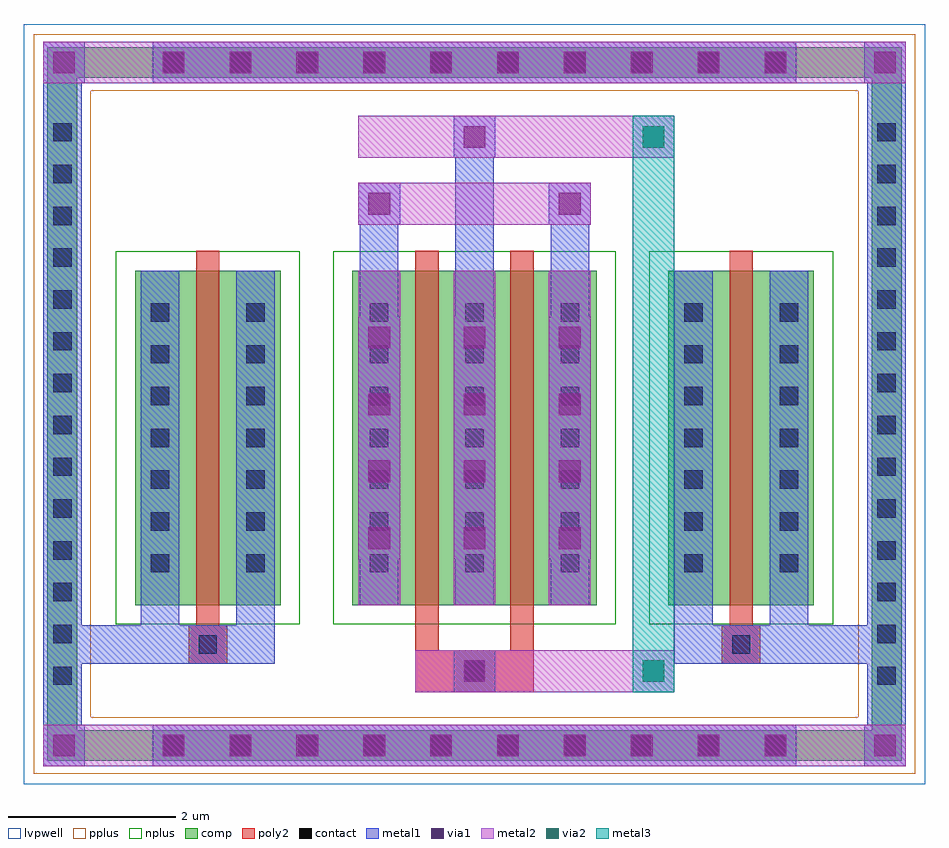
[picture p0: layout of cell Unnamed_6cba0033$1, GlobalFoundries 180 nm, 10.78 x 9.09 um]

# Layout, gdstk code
import gdstk
lib = gdstk.Library(unit=1e-6, precision=5e-09)
def R(c, l, rs):  # rectangles x0, y0, x1, y1
    for r in rs: c.add(gdstk.rectangle(r[:2], r[2:], *l))
def A(c, l, x, y, w, h, nx, ny, dx, dy):  # array of equal rectangles
    R(c, l, [(x+i*dx, y+j*dy, x+i*dx+w, y+j*dy+h) for i in range(nx) for j in range(ny)])
def P(c, l, *ps):  # polygons
    for p in ps: c.add(gdstk.Polygon(p, *l))
comp = (22, 0)
poly2 = (30, 0)
pplus = (31, 0)
nplus = (32, 0)
contact = (33, 0)
metal1 = (34, 0)
via1 = (35, 0)
metal2 = (36, 0)
via2 = (38, 0)
metal3 = (42, 0)
lvpwell = (204, 0)

unnamed_6cba0033_1 = lib.new_cell('Unnamed_6cba0033$1')
A(unnamed_6cba0033_1, comp, -3.78, -4.265, 0.36, 0.36, 10, 2, 0.8, 8.17)
A(unnamed_6cba0033_1, comp, -5.11, -3.43, 0.36, 0.36, 1, 14, 0, 0.5)
A(unnamed_6cba0033_1, comp, 4.75, -3.43, 0.36, 0.36, 1, 14, 0, 0.5)
R(unnamed_6cba0033_1, comp, [(-3.78,-4.265,3.78,-3.905), (-5.11,-3.43,-4.75,3.43), (4.75,-3.43,5.11,3.43), (-4.06,-2.405,-2.32,1.595), (-1.46,-2.405,1.46,1.595), (2.32,-2.405,4.06,1.595), (-3.78,3.905,3.78,4.265)])
P(unnamed_6cba0033_1, comp, [(5.11,4.265),(-5.11,4.265),(-5.11,-3.905),(-4.75,-3.905),(-4.75,3.905),(4.75,3.905),(4.75,-3.905),(-4.75,-3.905),(-5.11,-3.905),(-5.11,-4.265),(5.11,-4.265)])
R(unnamed_6cba0033_1, poly2, [(-0.71,-3.445,0.71,-2.945), (-0.18,-3.375,0.18,-3.015), (-3.42,-3.105,-2.96,-2.645), (2.96,-3.105,3.42,-2.645), (-3.37,-3.055,-3.01,-2.695), (3.01,-3.055,3.37,-2.695), (-0.71,-2.945,-0.43,-2.645), (0.43,-2.945,0.71,-2.645), (-3.33,-2.645,-3.05,1.835), (-0.71,-2.645,-0.43,1.835), (0.43,-2.645,0.71,1.835), (3.05,-2.645,3.33,1.835)])
P(unnamed_6cba0033_1, pplus, [(5.27,4.425),(-5.27,4.425),(-5.27,-3.745),(-4.59,-3.745),(-4.59,3.745),(4.59,3.745),(4.59,-3.745),(-4.59,-3.745),(-5.27,-3.745),(-5.27,-4.425),(5.27,-4.425)])
R(unnamed_6cba0033_1, nplus, [(-4.29,-2.635,-2.09,1.825), (-1.69,-2.635,1.69,1.825), (2.09,-2.635,4.29,1.825)])
A(unnamed_6cba0033_1, contact, -3.71, -4.195, 0.22, 0.22, 10, 2, 0.8, 8.17)
A(unnamed_6cba0033_1, contact, -5.04, -3.36, 0.22, 0.22, 1, 14, 0, 0.5)
A(unnamed_6cba0033_1, contact, 4.82, -3.36, 0.22, 0.22, 1, 14, 0, 0.5)
A(unnamed_6cba0033_1, contact, -3.87, -2.015, 0.22, 0.22, 1, 7, 0, 0.5)
A(unnamed_6cba0033_1, contact, -2.73, -2.015, 0.22, 0.22, 1, 7, 0, 0.5)
A(unnamed_6cba0033_1, contact, -1.25, -2.015, 0.22, 0.22, 3, 7, 1.14, 0.5)
A(unnamed_6cba0033_1, contact, 2.51, -2.015, 0.22, 0.22, 1, 7, 0, 0.5)
A(unnamed_6cba0033_1, contact, 3.65, -2.015, 0.22, 0.22, 1, 7, 0, 0.5)
R(unnamed_6cba0033_1, contact, [(-0.11,-3.305,0.11,-3.085), (-3.3,-2.985,-3.08,-2.765), (3.08,-2.985,3.3,-2.765)])
A(unnamed_6cba0033_1, metal1, -3.85, -4.335, 0.5, 0.5, 10, 2, 0.8, 8.17)
A(unnamed_6cba0033_1, metal1, -5.16, -3.48, 0.46, 0.46, 1, 14, 0, 0.5)
A(unnamed_6cba0033_1, metal1, 4.7, -3.48, 0.46, 0.46, 1, 14, 0, 0.5)
A(unnamed_6cba0033_1, metal1, -1.37, -2.405, 0.46, 4, 3, 1, 1.14, 0)
A(unnamed_6cba0033_1, metal1, -3.99, -2.135, 0.46, 0.46, 1, 7, 0, 0.5)
A(unnamed_6cba0033_1, metal1, -2.85, -2.135, 0.46, 0.46, 1, 7, 0, 0.5)
A(unnamed_6cba0033_1, metal1, -1.37, -2.135, 0.46, 0.46, 3, 7, 1.14, 0.5)
A(unnamed_6cba0033_1, metal1, 2.39, -2.135, 0.46, 0.46, 1, 7, 0, 0.5)
A(unnamed_6cba0033_1, metal1, 3.53, -2.135, 0.46, 0.46, 1, 7, 0, 0.5)
A(unnamed_6cba0033_1, metal1, -1.39, -1.855, 0.5, 0.5, 3, 4, 1.14, 0.8)
A(unnamed_6cba0033_1, metal1, -1.39, -1.855, 0.5, 2.9, 3, 1, 1.14, 0)
R(unnamed_6cba0033_1, metal1, [(-5.16,-4.335,-4.66,-3.835), (-5.16,-4.335,-4.66,-3.835), (-5.16,-4.335,-4.7,-3.905), (-3.85,-4.335,3.85,-3.835), (4.66,-4.335,5.16,-3.835), (4.66,-4.335,5.16,-3.835), (4.7,-4.335,5.16,-3.905), (-5.16,-3.905,-4.7,3.905), (4.7,-3.905,5.16,3.905), (-0.25,-3.445,0.25,-2.945), (-5.16,-3.105,-3.42,-2.645), (-3.99,-3.105,-3.42,-2.645), (-3.99,-3.105,-3.53,-2.405), (-3.42,-3.105,-2.96,-2.645), (-2.96,-3.105,-2.39,-2.645), (-2.85,-3.105,-2.39,-2.405), (2.39,-3.105,2.96,-2.645), (2.39,-3.105,2.85,-2.405), (2.96,-3.105,3.42,-2.645), (2.96,-3.105,5.16,-2.645), (3.42,-3.105,3.99,-2.645), (3.53,-3.105,3.99,-2.405), (-3.99,-2.405,-3.53,1.595), (-2.85,-2.405,-2.39,1.595), (2.39,-2.405,2.85,1.595), (3.53,-2.405,3.99,1.595), (-1.37,1.595,-0.91,2.645), (-0.23,1.595,0.23,3.445), (0.91,1.595,1.37,2.645), (-1.39,2.145,-0.89,2.645), (0.89,2.145,1.39,2.645), (-0.25,2.945,0.25,3.445), (-5.16,3.835,-4.66,4.335), (-5.16,3.835,-4.66,4.335), (-3.85,3.835,3.85,4.335), (4.66,3.835,5.16,4.335), (4.66,3.835,5.16,4.335), (-5.16,3.905,-4.7,4.335), (4.7,3.905,5.16,4.335)])
A(unnamed_6cba0033_1, via1, -3.73, -4.215, 0.26, 0.26, 10, 2, 0.8, 8.17)
A(unnamed_6cba0033_1, via1, -1.27, -1.735, 0.26, 0.26, 3, 4, 1.14, 0.8)
R(unnamed_6cba0033_1, via1, [(-5.04,-4.215,-4.78,-3.955), (4.78,-4.215,5.04,-3.955), (-0.13,-3.325,0.13,-3.065), (-1.27,2.265,-1.01,2.525), (1.01,2.265,1.27,2.525), (-0.13,3.065,0.13,3.325), (-5.04,3.955,-4.78,4.215), (4.78,3.955,5.04,4.215)])
A(unnamed_6cba0033_1, metal2, -3.85, -4.335, 0.5, 0.5, 10, 2, 0.8, 8.17)
A(unnamed_6cba0033_1, metal2, -1.39, -2.405, 0.5, 4, 3, 1, 1.14, 0)
A(unnamed_6cba0033_1, metal2, -1.39, -1.855, 0.5, 0.5, 3, 4, 1.14, 0.8)
R(unnamed_6cba0033_1, metal2, [(-5.16,-4.335,-4.66,-3.835), (-5.16,-4.335,-4.66,-3.835), (-5.16,-4.335,-4.75,-3.835), (-4.75,-4.335,4.75,-3.835), (4.66,-4.335,5.16,-3.835), (4.66,-4.335,5.16,-3.835), (4.75,-4.335,5.16,-3.835), (-0.71,-3.445,0.71,-2.945), (-0.25,-3.445,0.25,-2.945), (0.71,-3.445,2.39,-2.945), (1.89,-3.445,2.39,-2.945), (-1.39,2.145,-0.89,2.645), (-1.39,2.145,1.39,2.645), (0.89,2.145,1.39,2.645), (-1.39,2.945,1.39,3.445), (-0.25,2.945,0.25,3.445), (1.39,2.945,2.39,3.445), (1.89,2.945,2.39,3.445), (-5.16,3.835,-4.66,4.335), (-5.16,3.835,-4.66,4.335), (-5.16,3.835,-4.75,4.335), (-4.75,3.835,4.75,4.335), (4.66,3.835,5.16,4.335), (4.66,3.835,5.16,4.335), (4.75,3.835,5.16,4.335)])
R(unnamed_6cba0033_1, via2, [(2.01,-3.325,2.27,-3.065), (2.01,3.065,2.27,3.325)])
R(unnamed_6cba0033_1, metal3, [(1.89,-3.445,2.39,-2.945), (1.89,-3.445,2.39,-2.945), (1.89,-3.445,2.39,3.445), (1.89,2.945,2.39,3.445), (1.89,2.945,2.39,3.445)])
P(unnamed_6cba0033_1, metal3, [(2.39,-3.445),(2.39,-3.445),(2.39,-2.945),(2.39,-2.945)],
  [(2.39,2.945),(2.39,2.945),(2.39,3.445),(2.39,3.445)])
R(unnamed_6cba0033_1, lvpwell, [(-5.39,-4.545,5.39,4.545)])

lib.write_gds('Unnamed_6cba0033_1.gds')
